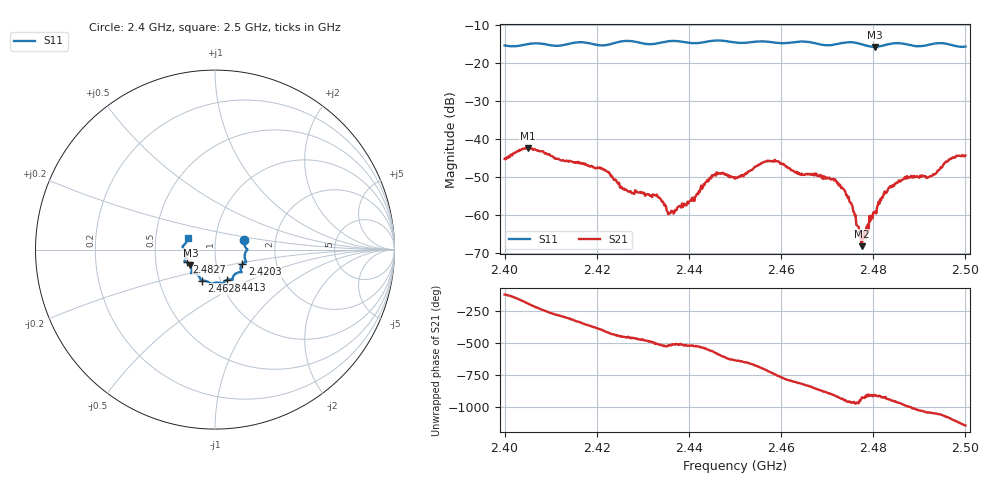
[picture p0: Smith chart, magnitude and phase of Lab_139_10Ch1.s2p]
# Hz S RI R 50
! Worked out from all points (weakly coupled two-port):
!   601 points, 2.4 GHz to 2.5 GHz, reference 50 ohm
!   highest |S21| = -42.41 dB at 2.405 GHz (marker M1); lowest = -68.3 dB at 2.4775 GHz (marker M2)
!   lowest |S11| = -15.8 dB at 2.4803 GHz (marker M3), VSWR 1.39, Z = 37.4 - j6.76 ohm
!   |S11| at or under -10 dB: start of sweep to end of sweep
!   S12 and S22 are empty: the file has one direction only
!   S11 on the Smith chart (normalised r, x): 2.4 GHz: 1.38, +0.15; 2.4203 GHz: 1.34, -0.22; 2.4413 GHz: 1.08, -0.38; 2.4628 GHz: 0.82, -0.29; 2.4827 GHz: 0.72, -0.10; 2.5 GHz: 0.73, +0.10
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2.4e9  0.1618 0.0528  -0.00315 -0.00445  0 0  0 0
2.405e9  0.1769 0.00366  -0.00736 0.00181  0 0  0 0
2.416667e9  0.1742 -0.0693  0.00458 0.00133  0 0  0 0
2.420333e9  0.1522 -0.0795  0.00361 -0.00202  0 0  0 0
2.426167e9  0.149 -0.1258  -0.000199 -0.00211  0 0  0 0
2.433333e9  0.1001 -0.1522  -0.0015 -0.000777  0 0  0 0
2.435833e9  0.0982 -0.1675  -0.000981 -0.000389  0 0  0 0
2.441333e9  0.067 -0.1691  -0.00167 -0.000374  0 0  0 0
2.4455e9  0.043 -0.192  -0.00276 0.0019  0 0  0 0
2.45e9  0.0244 -0.1846  0.000237 0.00297  0 0  0 0
2.457e9  -0.0243 -0.1893  0.00514 0.000435  0 0  0 0
2.462833e9  -0.072 -0.1736  0.000511 -0.00366  0 0  0 0
2.466667e9  -0.0805 -0.1676  -0.00185 -0.00279  0 0  0 0
2.473333e9  -0.129 -0.1305  -0.00187 0.0012  0 0  0 0
2.475167e9  -0.1341 -0.1313  -0.000742 0.00122  0 0  0 0
2.4775e9  -0.13 -0.1193  -0.000351 0.000158  0 0  0 0
2.480333e9  -0.1369 -0.0879  -0.00107 0.000188  0 0  0 0
2.482667e9  -0.1578 -0.0706  -0.00181 0.000626  0 0  0 0
2.483333e9  -0.1631 -0.0684  -0.00179 0.00136  0 0  0 0
2.487333e9  -0.1668 -0.054  -1.73e-05 0.00323  0 0  0 0
2.492167e9  -0.1744 0.00379  0.00244 0.00203  0 0  0 0
2.5e9  -0.1511 0.0646  0.00298 -0.00525  0 0  0 0
